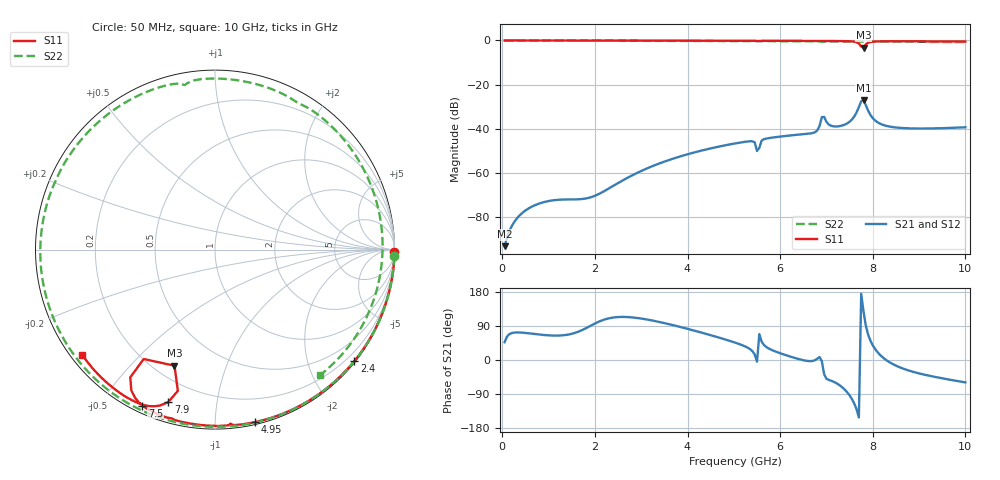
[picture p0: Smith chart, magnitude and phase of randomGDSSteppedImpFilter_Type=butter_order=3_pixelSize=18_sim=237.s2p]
! freq	dB(S11)	phase(S11)	dB(S12)	phase(S12)
!  dB(S21)	phase(S21)	dB(S22)	phase(S22)
!S-par simulation data
#  GHz  S  DB  R 50
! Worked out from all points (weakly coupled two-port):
!   200 points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, 50 MHz to 10 GHz, reference 50 ohm
!   highest |S21| = -27.15 dB at 7.8 GHz (marker M1); lowest = -93.4 dB at 50 MHz (marker M2)
!   lowest |S11| = -3.3 dB at 7.8 GHz (marker M3), VSWR 5.35, Z = 13.8 - j33.7 ohm
!   |S11| at or under -10 dB: nowhere
!   |S22| runs from -0.8 to 0.0 dB; largest |S21 - S12| = 0
!   S11 on the Smith chart (normalised r, x): 50 MHz: open; 2.4 GHz: 0.03, -2.85; 4.95 GHz: 0.02, -1.26; 7.5 GHz: 0.03, -0.64; 7.9 GHz: 0.09, -0.74; 10 GHz: 0.03, -0.35
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0.05  -0.00 -0.8  -93.40 46.9  -93.40 46.9  -0.00 -2.1
0.35  -0.00 -5.8  -79.97 72.7  -79.97 72.7  -0.01 -14.8
0.8  -0.01 -13.1  -74.02 67.2  -74.02 67.2  -0.04 -33.4
1.75  -0.04 -28.4  -71.93 80.4  -71.93 80.4  -0.09 -71.1
2.4  -0.05 -38.7  -65.97 112.2  -65.97 112.2  -0.11 -95.4
3.4  -0.07 -54.0  -55.78 100.1  -55.78 100.1  -0.16 -130.6
4.95  -0.12 -76.8  -47.05 49.0  -47.05 49.0  -0.24 176.5
5.05  -0.12 -78.2  -46.67 44.9  -46.67 44.9  -0.25 172.9
5.4  -0.14 -83.3  -45.80 23.5  -45.80 23.5  -0.27 160.4
5.5  -0.22 -84.9  -50.15 -4.4  -50.15 -4.4  -0.29 156.7
5.65  -0.15 -86.4  -44.84 39.6  -44.84 39.6  -0.29 151.2
6.7  -0.20 -101.3  -42.04 -2.5  -42.04 -2.5  -0.39 109.2
6.8  -0.21 -102.8  -40.92 3.3  -40.92 3.3  -0.42 104.7
6.9  -0.26 -104.3  -34.86 -3.1  -34.86 -3.1  -0.61 100.4
7.15  -0.25 -108.0  -38.99 -57.2  -38.99 -57.2  -0.42 89.9
7.5  -0.37 -114.9  -36.90 -93.6  -36.90 -93.6  -0.45 73.5
7.7  -1.37 -123.6  -30.23 -151.6  -30.23 -151.6  -0.51 63.8
7.8  -3.29 -109.2  -27.15 128.2  -27.15 128.2  -0.54 59.5
7.9  -1.02 -107.0  -31.89 66.9  -31.89 66.9  -0.49 54.6
8.35  -0.37 -119.0  -39.05 -5.0  -39.05 -5.0  -0.52 32.0
9.15  -0.41 -130.5  -39.98 -39.7  -39.98 -39.7  -0.62 -8.5
10  -0.50 -141.7  -39.42 -59.1  -39.42 -59.1  -0.80 -50.2
